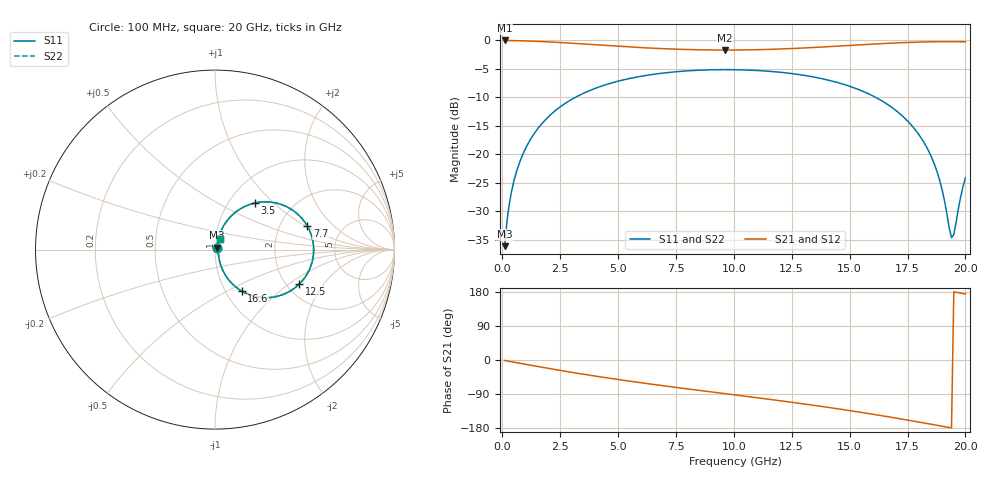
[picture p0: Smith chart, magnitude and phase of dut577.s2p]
! Touchstone file exported from HFSS 2026.1.0
!  File:  C:/ffzhzh/LocalFiles/Ansys_Project_Files/temp_train_TSV_RDL_577_1783118561_35180.aedt
!  Generated:  06:54:13 AM Jul  4, 2026
!  Design:  TSV_RDL
!  Project:  temp_train_TSV_RDL_577_1783118561_35180
! Variables:
!  h_bsmrdl = 3.56um
!  h_ox = 20um
!  h_rdl = 5um
!  h_sub = 98.5um
!  h_tmrdl = 5.63um
!  h_tsv = 98.5um
!  h_via = 3um
!  l_bsmrdl = 191.66um
!  l_sub = 2959.25um
!  l_tmrdl = 462.91um
!  m_sub = 200um
!  pitch = 59.74um
!  r_tsv = 6.72um
!  s_tmrdl = 10um
!  w_bsmrdl = 16.97um
!  w_sub = 500um
!  w_tmrdl = 27.24um
!  x_tsv_center1 = 476.53um
!  x_tsv_center2 = 685.16um
!  x_tsv_center3 = 1175.31um
!  x_tsv_center4 = 1383.94um
!  x_tsv_center5 = 1874.09um
!  x_tsv_center6 = 2082.72um
# GHz S MA R 50.000000
! Terminal data exported
! Port[1] = TM_RDL1_1_T1
! Port[2] = TM_RDL5_1_T1
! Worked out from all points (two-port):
!   200 points, 100 MHz to 20 GHz, reference 50 ohm
!   highest |S21| = -0.09 dB at 100 MHz (marker M1); lowest = -1.8 dB at 9.6 GHz (marker M2)
!   |S21| within 3 dB of the highest: start of sweep to end of sweep
!   lowest |S11| = -36.1 dB at 100 MHz (marker M3), VSWR 1.03, Z = 51 + j1.19 ohm
!   |S11| at or under -10 dB: start of sweep to 3.176 GHz; 16.1 GHz to end of sweep
!   |S22| runs from -36.1 to -5.2 dB; largest |S21 - S12| = 1.8e-14
!   S11 on the Smith chart (normalised r, x): 100 MHz: 1.02, +0.02; 3.5 GHz: 1.31, +0.77; 7.7 GHz: 2.84, +1.04; 12.5 GHz: 2.34, -1.21; 16.6 GHz: 1.19, -0.60; 20 GHz: 1.04, +0.12
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0.1  0.01568 48.0  0.9897 -1.2  0.9897 -1.2  0.01568 48.0
! Gamma 0 0 0 0
! Port Impedance 50 0 50 0
0.2  0.02578 63.1  0.989 -2.3  0.989 -2.3  0.02578 63.1
0.4  0.0473 71.2  0.9873 -4.6  0.9873 -4.6  0.0473 71.2
0.7  0.07971 73.1  0.9843 -8.0  0.9843 -8.0  0.07971 73.1
1  0.1119 72.0  0.9805 -11.3  0.9805 -11.3  0.1119 72.0
2  0.2134 63.7  0.9616 -22.2  0.9616 -22.2  0.2134 63.7
3.5  0.3411 49.5  0.9219 -37.5  0.9219 -37.5  0.3411 49.5
6.8  0.5087 21.3  0.8409 -66.7  0.8409 -66.7  0.5087 21.3
7.7  0.5309 14.3  0.8276 -73.9  0.8276 -73.9  0.5309 14.3
9.6  0.5497 -0.0  0.8157 -88.7  0.8157 -88.7  0.5496 -0.0
10.1  0.5486 -3.8  0.8163 -92.5  0.8163 -92.5  0.5486 -3.8
12.5  0.5077 -22.1  0.8406 -111.6  0.8406 -111.6  0.5077 -22.1
13.4  0.4757 -29.4  0.8577 -119.1  0.8577 -119.1  0.4757 -29.4
16.6  0.2759 -57.1  0.9333 -149.1  0.9333 -149.1  0.2759 -57.1
16.7  0.2675 -58.0  0.9355 -150.2  0.9355 -150.2  0.2674 -58.0
17.7  0.1767 -66.3  0.9539 -160.6  0.9539 -160.6  0.1766 -66.3
18.5  0.09791 -69.9  0.963 -169.3  0.963 -169.3  0.09787 -69.9
19  0.04828 -63.7  0.9655 -174.7  0.9655 -174.7  0.04826 -63.7
19.4  0.01859 -9.8  0.9658 -179.1  0.9658 -179.1  0.01863 -9.6
19.5  0.01976 20.5  0.9656 179.8  0.9656 179.8  0.01983 20.5
19.8  0.04268 59.9  0.9643 176.5  0.9643 176.5  0.04275 59.8
20  0.06196 66.0  0.963 174.3  0.963 174.3  0.06203 65.9
